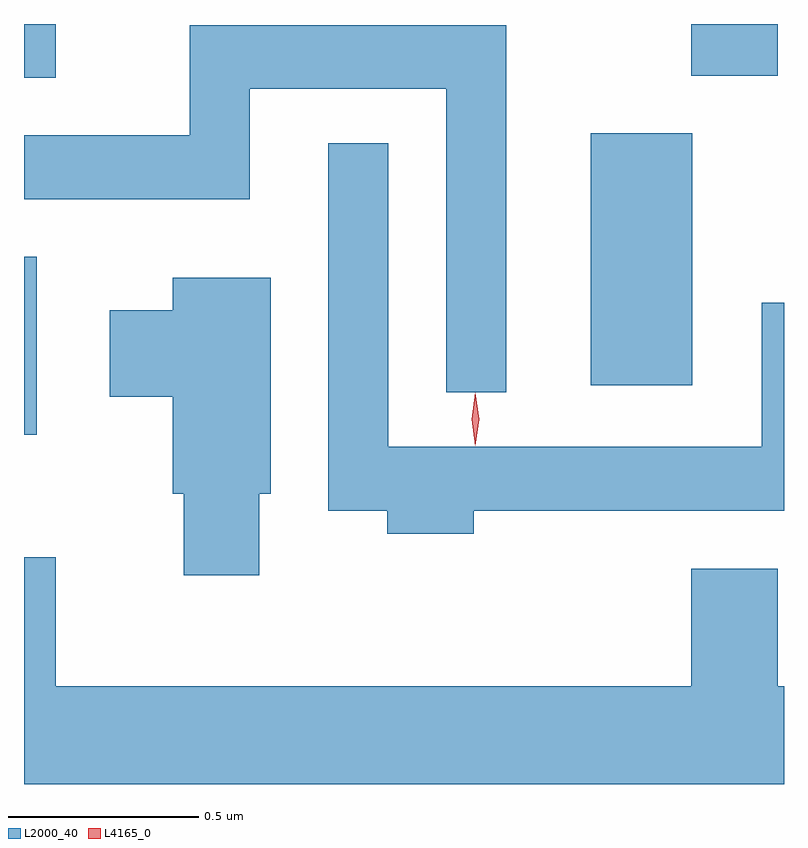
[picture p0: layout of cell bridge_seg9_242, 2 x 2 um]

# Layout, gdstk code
import gdstk
lib = gdstk.Library(unit=1e-6, precision=1e-09)
def R(c, l, rs):  # rectangles x0, y0, x1, y1
    for r in rs: c.add(gdstk.rectangle(r[:2], r[2:], *l))
def P(c, l, *ps):  # polygons
    for p in ps: c.add(gdstk.Polygon(p, *l))
L2000_40 = (2000, 40)
L4165_0 = (4165, 0)

bridge_seg9_242 = lib.new_cell('bridge_seg9_242')
R(bridge_seg9_242, L2000_40, [(1481.385,1979.426,1481.419,1979.894), (1482.876,1979.556,1483.144,1980.219), (1481.385,1980.366,1481.469,1980.507), (1483.141,1980.371,1483.369,1980.507)])
P(bridge_seg9_242, L2000_40, [(1482.654,1980.504),(1481.821,1980.504),(1481.821,1980.214),(1481.385,1980.214),(1481.385,1980.046),(1481.979,1980.046),(1481.979,1980.336),(1482.496,1980.336),(1482.496,1979.538),(1482.654,1979.538)],
  [(1482.569,1979.226),(1483.385,1979.226),(1483.385,1979.773),(1483.326,1979.773),(1483.326,1979.394),(1482.344,1979.394),(1482.344,1980.193),(1482.186,1980.193),(1482.186,1979.226),(1482.341,1979.226),(1482.341,1979.166),(1482.569,1979.166)],
  [(1482.004,1979.271),(1482.034,1979.271),(1482.034,1979.839),(1481.776,1979.839),(1481.776,1979.754),(1481.611,1979.754),(1481.611,1979.526),(1481.776,1979.526),(1481.776,1979.271),(1481.806,1979.271),(1481.806,1979.056),(1482.004,1979.056)],
  [(1483.385,1978.764),(1483.369,1978.764),(1483.369,1979.074),(1483.141,1979.074),(1483.141,1978.764),(1481.469,1978.764),(1481.469,1979.104),(1481.385,1979.104),(1481.385,1978.507),(1483.385,1978.507)])
P(bridge_seg9_242, L4165_0, [(1482.572,1979.397),(1482.563,1979.467),(1482.572,1979.536),(1482.573,1979.536),(1482.573,1979.536),(1482.583,1979.467),(1482.573,1979.397),(1482.573,1979.397)])

lib.write_gds('bridge_seg9_242.gds')
